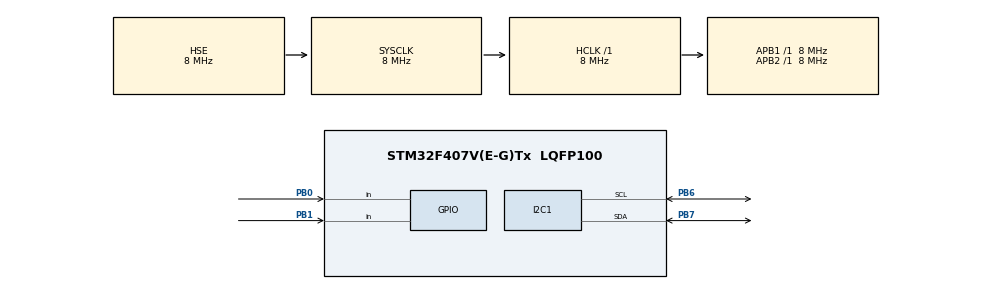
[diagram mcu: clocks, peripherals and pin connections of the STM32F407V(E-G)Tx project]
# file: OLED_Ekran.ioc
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I2C1.I2C_Mode=I2C_Fast
Mcu.Family=STM32F4
Mcu.Name=STM32F407V(E-G)Tx
Mcu.Package=LQFP100
NVIC.PriorityGroup=NVIC_PRIORITYGROUP_4
NVIC.TIM1_UP_TIM10_IRQn=true\:0\:0\:false\:false\:true\:true\:true\:true
PA13.Mode=Serial_Wire
PA13.Signal=SYS_JTMS-SWDIO
PA14.Mode=Serial_Wire
PA14.Signal=SYS_JTCK-SWCLK
PB0.GPIO_PuPd=GPIO_PULLDOWN
PB0.Signal=GPIO_Input
PB1.GPIO_PuPd=GPIO_PULLDOWN
PB1.Signal=GPIO_Input
PB6.Mode=I2C
PB6.Signal=I2C1_SCL
PB7.Mode=I2C
PB7.Signal=I2C1_SDA
PH0-OSC_IN.Mode=HSE-External-Oscillator
PH0-OSC_IN.Signal=RCC_OSC_IN
PH1-OSC_OUT.Mode=HSE-External-Oscillator
PH1-OSC_OUT.Signal=RCC_OSC_OUT
ProjectManager.HeapSize=0x200
ProjectManager.StackSize=0x400
ProjectManager.TargetToolchain=STM32CubeIDE
RCC.48MHZClocksFreq_Value=48000000
RCC.AHBFreq_Value=8000000
RCC.APB1Freq_Value=8000000
RCC.APB1TimFreq_Value=8000000
RCC.APB2Freq_Value=8000000
RCC.APB2TimFreq_Value=8000000
RCC.CortexFreq_Value=8000000
RCC.HCLKFreq_Value=8000000
RCC.HSE_VALUE=8000000
RCC.HSI_VALUE=16000000
RCC.LSE_VALUE=32768
RCC.SYSCLKFreq_VALUE=8000000
RCC.SYSCLKSource=RCC_SYSCLKSOURCE_HSE
RCC.VCOOutputFreq_Value=192000000
TIM1.Period=1599
TIM1.Prescaler=7999
VP_TIM1_VS_ClockSourceINT.Mode=Internal
board=custom

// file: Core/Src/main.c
/* USER CODE BEGIN Header */
/**
  ******************************************************************************
  * @file           : main.c
  * @brief          : Main program body
  ******************************************************************************
  * @attention
  *
  * Copyright (c) 2024 STMicroelectronics.
  * All rights reserved.
  *
  * This software is licensed under terms that can be found in the LICENSE file
  * in the root directory of this software component.
  * If no LICENSE file comes with this software, it is provided AS-IS.
  *
  ******************************************************************************
  */
/* USER CODE END Header */
#include "main.h"

/* USER CODE BEGIN Includes */

#include "fonts.h"
#include "ssd1306.h"
#include "menu.h"

/* USER CODE END Includes */

I2C_HandleTypeDef hi2c1;

TIM_HandleTypeDef htim1;

void SystemClock_Config(void);
static void MX_GPIO_Init(void);
static void MX_I2C1_Init(void);
static void MX_TIM1_Init(void);

/* USER CODE BEGIN 0 */

uint16_t count = 1;
int button1 = 0;
int button2 = 0;
uint16_t counter = 0;

void HAL_TIM_PeriodElapsedCallback(TIM_HandleTypeDef *htim)
{
	if(button1 == 1){
		if(counter == 0){
			count++;
			menu(count); }}
	else if(button2 == 1){
		if(counter ==0){
			count--;
			menu(count);}}
	else;

	if(button1 >= 2){
		counter=1;
		button1 = 0;
		SSD1306_Clear();
		menu2(count);
	}
	else if(button2 >= 2){
		counter = 0;
		button2 = 0;
		SSD1306_Clear();
		menu(count);
	}	else;

	button1 = 0;
	button2 = 0;

}

/* USER CODE END 0 */

int main(void)
{

  /* MCU Configuration--------------------------------------------------------*/

  /* Reset of all peripherals, Initializes the Flash interface and the Systick. */
  HAL_Init();

  /* Configure the system clock */
  SystemClock_Config();

  /* Initialize all configured peripherals */
  MX_GPIO_Init();
  MX_I2C1_Init();
  MX_TIM1_Init();
  /* USER CODE BEGIN 2 */

  SSD1306_Init();
  HAL_TIM_Base_Start_IT(&htim1);
  menu(count);
  flash_init();

  /* USER CODE END 2 */

  /* Infinite loop */
  /* USER CODE BEGIN WHILE */
  while (1)
  {

	if(count>4){
		 count = 1;
	 	 menu(count);}

	else if(count < 1){
		 count = 4;
		 menu(count);}

	if(HAL_GPIO_ReadPin(GPIOB, GPIO_PIN_0))
	{
		button1++;
		while(HAL_GPIO_ReadPin(GPIOB, GPIO_PIN_0));

	}
	if(HAL_GPIO_ReadPin(GPIOB, GPIO_PIN_1))
	{
		button2++;
		while(HAL_GPIO_ReadPin(GPIOB, GPIO_PIN_1));

}

    /* USER CODE END WHILE */

  }
}

void SystemClock_Config(void)
{
  RCC_OscInitTypeDef RCC_OscInitStruct = {0};
  RCC_ClkInitTypeDef RCC_ClkInitStruct = {0};

  /** Configure the main internal regulator output voltage
  */
  __HAL_RCC_PWR_CLK_ENABLE();
  __HAL_PWR_VOLTAGESCALING_CONFIG(PWR_REGULATOR_VOLTAGE_SCALE1);

  /** Initializes the RCC Oscillators according to the specified parameters
  * in the RCC_OscInitTypeDef structure.
  */
  RCC_OscInitStruct.OscillatorType = RCC_OSCILLATORTYPE_HSE;
  RCC_OscInitStruct.HSEState = RCC_HSE_ON;
  RCC_OscInitStruct.PLL.PLLState = RCC_PLL_NONE;
  if (HAL_RCC_OscConfig(&RCC_OscInitStruct) != HAL_OK)
  {
    Error_Handler();
  }

  /** Initializes the CPU, AHB and APB buses clocks
  */
  RCC_ClkInitStruct.ClockType = RCC_CLOCKTYPE_HCLK|RCC_CLOCKTYPE_SYSCLK
                              |RCC_CLOCKTYPE_PCLK1|RCC_CLOCKTYPE_PCLK2;
  RCC_ClkInitStruct.SYSCLKSource = RCC_SYSCLKSOURCE_HSE;
  RCC_ClkInitStruct.AHBCLKDivider = RCC_SYSCLK_DIV1;
  RCC_ClkInitStruct.APB1CLKDivider = RCC_HCLK_DIV1;
  RCC_ClkInitStruct.APB2CLKDivider = RCC_HCLK_DIV1;

  if (HAL_RCC_ClockConfig(&RCC_ClkInitStruct, FLASH_LATENCY_0) != HAL_OK)
  {
    Error_Handler();
  }
}

static void MX_I2C1_Init(void)
{

  hi2c1.Instance = I2C1;
  hi2c1.Init.ClockSpeed = 400000;
  hi2c1.Init.DutyCycle = I2C_DUTYCYCLE_2;
  hi2c1.Init.OwnAddress1 = 0;
  hi2c1.Init.AddressingMode = I2C_ADDRESSINGMODE_7BIT;
  hi2c1.Init.DualAddressMode = I2C_DUALADDRESS_DISABLE;
  hi2c1.Init.OwnAddress2 = 0;
  hi2c1.Init.GeneralCallMode = I2C_GENERALCALL_DISABLE;
  hi2c1.Init.NoStretchMode = I2C_NOSTRETCH_DISABLE;
  if (HAL_I2C_Init(&hi2c1) != HAL_OK)
  {
    Error_Handler();
  }

}

static void MX_TIM1_Init(void)
{

  TIM_ClockConfigTypeDef sClockSourceConfig = {0};
  TIM_MasterConfigTypeDef sMasterConfig = {0};

  htim1.Instance = TIM1;
  htim1.Init.Prescaler = 7999;
  htim1.Init.CounterMode = TIM_COUNTERMODE_UP;
  htim1.Init.Period = 1599;
  htim1.Init.ClockDivision = TIM_CLOCKDIVISION_DIV1;
  htim1.Init.RepetitionCounter = 0;
  htim1.Init.AutoReloadPreload = TIM_AUTORELOAD_PRELOAD_DISABLE;
  if (HAL_TIM_Base_Init(&htim1) != HAL_OK)
  {
    Error_Handler();
  }
  sClockSourceConfig.ClockSource = TIM_CLOCKSOURCE_INTERNAL;
  if (HAL_TIM_ConfigClockSource(&htim1, &sClockSourceConfig) != HAL_OK)
  {
    Error_Handler();
  }
  sMasterConfig.MasterOutputTrigger = TIM_TRGO_RESET;
  sMasterConfig.MasterSlaveMode = TIM_MASTERSLAVEMODE_DISABLE;
  if (HAL_TIMEx_MasterConfigSynchronization(&htim1, &sMasterConfig) != HAL_OK)
  {
    Error_Handler();
  }

}

static void MX_GPIO_Init(void)
{
  GPIO_InitTypeDef GPIO_InitStruct = {0};

  /* GPIO Ports Clock Enable */
  __HAL_RCC_GPIOH_CLK_ENABLE();
  __HAL_RCC_GPIOB_CLK_ENABLE();
  __HAL_RCC_GPIOA_CLK_ENABLE();

  /*Configure GPIO pins : PB0 PB1 */
  GPIO_InitStruct.Pin = GPIO_PIN_0|GPIO_PIN_1;
  GPIO_InitStruct.Mode = GPIO_MODE_INPUT;
  GPIO_InitStruct.Pull = GPIO_PULLDOWN;
  HAL_GPIO_Init(GPIOB, &GPIO_InitStruct);

}

void Error_Handler(void)
{
  __disable_irq();
  while (1)
  {
  }
}
